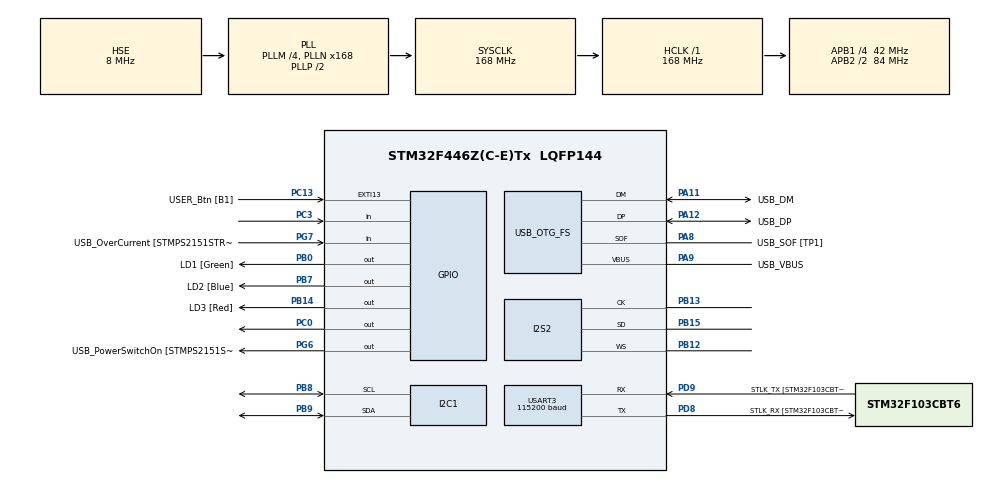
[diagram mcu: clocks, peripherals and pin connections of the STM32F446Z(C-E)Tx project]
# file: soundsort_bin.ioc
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Dma.Request0=SPI2_RX
Dma.SPI2_RX.0.Direction=DMA_PERIPH_TO_MEMORY
Dma.SPI2_RX.0.FIFOMode=DMA_FIFOMODE_DISABLE
Dma.SPI2_RX.0.Instance=DMA1_Stream3
Dma.SPI2_RX.0.MemDataAlignment=DMA_MDATAALIGN_HALFWORD
Dma.SPI2_RX.0.MemInc=DMA_MINC_ENABLE
Dma.SPI2_RX.0.Mode=DMA_CIRCULAR
Dma.SPI2_RX.0.PeriphDataAlignment=DMA_PDATAALIGN_HALFWORD
Dma.SPI2_RX.0.PeriphInc=DMA_PINC_DISABLE
Dma.SPI2_RX.0.Priority=DMA_PRIORITY_VERY_HIGH
I2C1.I2C_Mode=I2C_Fast
I2S2.AudioFreq=I2S_AUDIOFREQ_16K
I2S2.DataFormat=I2S_DATAFORMAT_16B_EXTENDED
I2S2.ErrorAudioFreq=-0.26 %
I2S2.FullDuplexMode=I2S_FULLDUPLEXMODE_DISABLE
I2S2.Instance=SPI$Index
I2S2.Mode=I2S_MODE_MASTER_RX
I2S2.RealAudioFreq=15.957 KHz
I2S2.VirtualMode=I2S_MODE_MASTER
Mcu.Family=STM32F4
Mcu.Name=STM32F446Z(C-E)Tx
Mcu.Package=LQFP144
NVIC.DMA1_Stream3_IRQn=true\:0\:0\:false\:false\:true\:false\:true\:true
NVIC.PriorityGroup=NVIC_PRIORITYGROUP_4
PA10.GPIO_Label=USB_ID
PA10.Signal=USB_OTG_FS_ID
PA11.GPIO_Label=USB_DM
PA11.Mode=Device_Only
PA11.Signal=USB_OTG_FS_DM
PA12.GPIO_Label=USB_DP
PA12.Mode=Device_Only
PA12.Signal=USB_OTG_FS_DP
PA13.GPIO_Label=TMS
PA13.Mode=Serial_Wire
PA13.Signal=SYS_JTMS-SWDIO
PA14.GPIO_Label=TCK
PA14.Mode=Serial_Wire
PA14.Signal=SYS_JTCK-SWCLK
PA8.GPIO_Label=USB_SOF [TP1]
PA8.Mode=Activate_SOF_FS
PA8.Signal=USB_OTG_FS_SOF
PA9.GPIO_Label=USB_VBUS
PA9.Mode=Activate_VBUS
PA9.Signal=USB_OTG_FS_VBUS
PB0.GPIO_Label=LD1 [Green]
PB0.Signal=GPIO_Output
PB12.Mode=Half_Duplex_Master
PB12.Signal=I2S2_WS
PB13.Mode=Half_Duplex_Master
PB13.Signal=I2S2_CK
PB14.GPIO_Label=LD3 [Red]
PB14.Signal=GPIO_Output
PB15.Mode=Half_Duplex_Master
PB15.Signal=I2S2_SD
PB7.GPIO_Label=LD2 [Blue]
PB7.Signal=GPIO_Output
PB8.Mode=I2C
PB8.Signal=I2C1_SCL
PB9.Mode=I2C
PB9.Signal=I2C1_SDA
PC0.Signal=GPIO_Output
PC13.GPIO_Label=USER_Btn [B1]
PC13.Signal=GPXTI13
PC14-OSC32_IN.Mode=LSE-External-Oscillator
PC14-OSC32_IN.Signal=RCC_OSC32_IN
PC15-OSC32_OUT.Mode=LSE-External-Oscillator
PC15-OSC32_OUT.Signal=RCC_OSC32_OUT
PC3.Signal=GPIO_Input
PD8.GPIO_Label=STLK_RX [STM32F103CBT6_PA3]
PD8.Mode=Asynchronous
PD8.Signal=USART3_TX
PD9.GPIO_Label=STLK_TX [STM32F103CBT6_PA2]
PD9.Mode=Asynchronous
PD9.Signal=USART3_RX
PG6.GPIO_Label=USB_PowerSwitchOn [STMPS2151STR_EN]
PG6.Signal=GPIO_Output
PG7.GPIO_Label=USB_OverCurrent [STMPS2151STR_FAULT]
PG7.Signal=GPIO_Input
PH0-OSC_IN.GPIO_Label=MCO [STM32F103CBT6_PA8]
PH0-OSC_IN.Mode=HSE-External-Clock-Source
PH0-OSC_IN.Signal=RCC_OSC_IN
PH1-OSC_OUT.Mode=HSE-External-Clock-Source
PH1-OSC_OUT.Signal=RCC_OSC_OUT
ProjectManager.HeapSize=0x200
ProjectManager.StackSize=0x400
ProjectManager.TargetToolchain=STM32CubeIDE
RCC.48MHZClocksFreq_Value=24000000
RCC.AHBFreq_Value=168000000
RCC.APB1CLKDivider=RCC_HCLK_DIV4
RCC.APB1Freq_Value=42000000
RCC.APB1TimFreq_Value=84000000
RCC.APB2CLKDivider=RCC_HCLK_DIV2
RCC.APB2Freq_Value=84000000
RCC.APB2TimFreq_Value=168000000
RCC.CortexFreq_Value=168000000
RCC.HCLKFreq_Value=168000000
RCC.HSE_VALUE=8000000
RCC.HSI_VALUE=16000000
RCC.PLLI2SM=4
RCC.PLLM=4
RCC.PLLMUL=RCC_PLL_MUL9
RCC.PLLN=168
RCC.PLLQ=7
RCC.PRESCALERUSB=RCC_USBCLKSOURCE_PLL_DIV1_5
RCC.SYSCLKFreq_VALUE=168000000
RCC.SYSCLKSource=RCC_SYSCLKSOURCE_PLLCLK
RCC.SYSCLKSourceVirtual=RCC_SYSCLKSOURCE_PLLCLK
RCC.USBFreq_Value=48000000
RCC.VCOOutputFreq_Value=336000000
USART3.BaudRate=115200
USART3.VirtualMode=VM_ASYNC
USB_OTG_FS.VirtualMode=Device_Only
board=NUCLEO-F446ZE

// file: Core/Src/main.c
/* USER CODE BEGIN Header */
/**
 ******************************************************************************
 * @file           : main.c
 * @brief          : Main program body
 ******************************************************************************
 * @attention
 *
 * Copyright (c) 2026 STMicroelectronics.
 * All rights reserved.
 *
 * This software is licensed under terms that can be found in the LICENSE file
 * in the root directory of this software component.
 * If no LICENSE file comes with this software, it is provided AS-IS.
 *
 ******************************************************************************
 */
/* USER CODE END Header */
#include "main.h"

/* USER CODE BEGIN Includes */
#include "VL53L1X_api.h"
#include <stdio.h>
#include <math.h>
#include <string.h>
/* USER CODE END Includes */

/* USER CODE BEGIN PD */

// Total DMA buffer size for I2S audio
// DMA will fill this buffer continuously in a ping-pong manner:
// first half -> interrupt, second half -> interrupt
#define I2S_DMA_SAMPLES 1024
#define HALF_SAMPLES (I2S_DMA_SAMPLES / 2)

// If the ToF sensor sees an object closer than this, start listening
#define TOF_THRESHOLD_MM 150

// We store 0.5 seconds at 16kHz audio
// 16000 samples/sec * 0.5 sec = 8000 samples
#define AUDIO_LEN 8000

/* USER CODE END PD */

I2C_HandleTypeDef hi2c1;

I2S_HandleTypeDef hi2s2;
DMA_HandleTypeDef hdma_spi2_rx;

UART_HandleTypeDef huart3;

PCD_HandleTypeDef hpcd_USB_OTG_FS;

void SystemClock_Config(void);
static void MX_GPIO_Init(void);
static void MX_DMA_Init(void);
static void MX_I2S2_Init(void);
static void MX_USART3_UART_Init(void);
static void MX_USB_OTG_FS_PCD_Init(void);
static void MX_I2C1_Init(void);

/* USER CODE BEGIN 0 */
const float PI = 3.14159265358979f;

// Raw DMA buffer filled directly by I2S peripheral
static uint16_t i2s_rx_buf[I2S_DMA_SAMPLES];

// Final mono audio clip used for feature extraction
// This holds 8000 float samples = 0.5 seconds
static float audio_buf[AUDIO_LEN]; // Store 0.5s of audio as floats

// Current write index into audio_buf[]
static uint32_t audio_idx = 0;

// Set to 1 once we detect the actual impact sound
// Before that, we keep waiting even though recording has started
static uint8_t is_impact_detected = 0;

// Flags set by the DMA hardware interrupts
volatile uint8_t half_ready = 0;
volatile uint8_t full_ready = 0;

// Running DC estimate for a simple DC blocker
// Helps remove microphone bias / offset
static int32_t dc_offset = 0;

// FSM States
typedef enum
{
	STATE_IDLE,		// Waiting for an object to fall
	STATE_RECORDING // Object detected, currently filling audio_buf
} SystemState;

SystemState current_state = STATE_IDLE;
uint32_t chunk_count = 0;
uint16_t dev = 0x52; // ToF I2C Address

// Parses the raw hardware I2S buffer and converts it to a standard float array
static void fill_audio_buffer(uint16_t *src)
{
	for (uint32_t i = 0; i < HALF_SAMPLES; i += 4)
	{
		int16_t raw_sample = (int16_t)src[i];
		dc_offset = dc_offset + ((raw_sample - dc_offset) >> 6);

		// RAW, clean conversion. No 8x multiplier, no clipping.
		float sample_float = (float)(raw_sample - dc_offset) / 32768.0f;

		if (chunk_count < 5)
			continue; // Skip the startup pop

		float abs_val = fabsf(sample_float);

		// Wait for impact
		if (!is_impact_detected)
		{
			if (abs_val > 0.015f)
			{ // Standard trigger threshold
				is_impact_detected = 1;
			}
		}

		// Record exactly 0.5 seconds
		if (is_impact_detected && audio_idx < AUDIO_LEN)
		{
			audio_buf[audio_idx++] = sample_float;
		}
	}
}

// DMA Call Backs
// Ping-Pong buffering: while the CPU processes the first half, the DMA fills the second half
void HAL_I2S_RxHalfCpltCallback(I2S_HandleTypeDef *hi2s)
{
	if (hi2s->Instance == SPI2)
	{
		half_ready = 1;
	}
}
void HAL_I2S_RxCpltCallback(I2S_HandleTypeDef *hi2s)
{
	if (hi2s->Instance == SPI2)
	{
		full_ready = 1;
	}
}
/* USER CODE END 0 */

int main(void)
{

	/* MCU Configuration--------------------------------------------------------*/

	/* Reset of all peripherals, Initializes the Flash interface and the Systick. */
	HAL_Init();

	/* Configure the system clock */
	SystemClock_Config();

	/* Initialize all configured peripherals */
	MX_GPIO_Init();
	MX_DMA_Init();
	MX_I2S2_Init();
	MX_USART3_UART_Init();
	MX_USB_OTG_FS_PCD_Init();
	MX_I2C1_Init();
	/* USER CODE BEGIN 2 */
	// 1. Turn on RED LED to indicate boot is starting
	HAL_GPIO_WritePin(GPIOB, LD3_Pin, GPIO_PIN_SET);

	// 2. Force the ToF Sensor OFF (Pull XSHUT Low)
	HAL_GPIO_WritePin(GPIOC, GPIO_PIN_0, GPIO_PIN_RESET);
	HAL_Delay(10); // Hold it in reset

	// 3. Wake the ToF Sensor UP (Pull XSHUT High)
	HAL_GPIO_WritePin(GPIOC, GPIO_PIN_0, GPIO_PIN_SET);
	HAL_Delay(50); // Give it time to boot internally

	uint8_t sensorState = 0;
	while (sensorState == 0)
	{
		VL53L1X_BootState(dev, &sensorState);
		HAL_Delay(2);
	}

	// 4. Initialize ToF Sensor for fast, short-range detection
	VL53L1X_SensorInit(dev);
	VL53L1X_SetDistanceMode(dev, 1);
	VL53L1X_SetTimingBudgetInMs(dev, 33);
	VL53L1X_SetInterMeasurementInMs(dev, 33);
	VL53L1X_StartRanging(dev);

	// 5. Success! Turn OFF Red LED, Turn ON Green LED
	HAL_GPIO_WritePin(GPIOB, LD3_Pin, GPIO_PIN_RESET);
	HAL_GPIO_WritePin(GPIOB, LD1_Pin, GPIO_PIN_SET);

	/* USER CODE END 2 */

	/* Infinite loop */
	/* USER CODE BEGIN WHILE */
	while (1)
	{
		if (current_state == STATE_IDLE)
		{
			// Poll the Time-of-Flight sensor to see if it finished a measurement
			uint8_t dataReady = 0;
			VL53L1X_CheckForDataReady(dev, &dataReady);

			if (dataReady)
			{
				uint16_t distance = 0;
				VL53L1X_GetDistance(dev, &distance);
				VL53L1X_ClearInterrupt(dev);

				// TRIGGER DETECTED!
				if (distance < TOF_THRESHOLD_MM && distance > 0)
				{
					current_state = STATE_RECORDING;
					chunk_count = 0;
					audio_idx = 0; // Reset our main float buffer index
					half_ready = 0;
					full_ready = 0;

					// Stop ToF Ranging so the I2C bus doesn't interrupt the audio processing
					VL53L1X_StopRanging(dev);

					// Tell the hardware DMA to start dumping microphone data into our array
					HAL_I2S_Receive_DMA(&hi2s2, i2s_rx_buf, I2S_DMA_SAMPLES);

					char msg[64];
					sprintf(msg, "--- ITEM DETECTED (%d mm) ---\n", distance);
					HAL_UART_Transmit(&huart3, (uint8_t *)msg, strlen(msg),
									  HAL_MAX_DELAY);
				}
			}
		}
		else if (current_state == STATE_RECORDING)
		{
			// The DMA finished filling the first half of the array
			if (half_ready)
			{
				half_ready = 0;
				fill_audio_buffer(&i2s_rx_buf[0]);
				chunk_count++;
			}

			// The DMA finished filling the second half of the array
			if (full_ready)
			{
				full_ready = 0;
				fill_audio_buffer(&i2s_rx_buf[HALF_SAMPLES]);
				chunk_count++;
			}

			// ---------------------------------------------------------
			// 1. SUCCESS: Did we finish collecting exactly 0.5s of audio?
			// ---------------------------------------------------------
			if (audio_idx >= AUDIO_LEN)
			{
				HAL_I2S_DMAStop(&hi2s2);

				// 1. Send Start Marker
				char start_msg[] = "START_AUDIO\n";
				HAL_UART_Transmit(&huart3, (uint8_t *)start_msg,
								  strlen(start_msg), HAL_MAX_DELAY);

				// 2. Transmit each sample as a human-readable text string!
				// This completely immunizes the data from binary alignment corruption.
				for (int i = 0; i < AUDIO_LEN; i++)
				{
					int16_t pcm_val = (int16_t)(audio_buf[i] * 32767.0f);
					char val_str[16];

					// Convert the integer to text with a newline
					sprintf(val_str, "%d\n", pcm_val);
					HAL_UART_Transmit(&huart3, (uint8_t *)val_str,
									  strlen(val_str), HAL_MAX_DELAY);
				}

				// 3. Send End Marker
				char end_msg[] = "END_AUDIO\n";
				HAL_UART_Transmit(&huart3, (uint8_t *)end_msg, strlen(end_msg),
								  HAL_MAX_DELAY);

				// Wait 1 second before allowing the next drop
				HAL_Delay(1000);

				VL53L1X_StartRanging(dev);
				is_impact_detected = 0;
				current_state = STATE_IDLE;
			}
			// ---------------------------------------------------------
			// 2. TIMEOUT: Did we wait 2 seconds and NEVER hear an impact?
			// ---------------------------------------------------------
			else if (chunk_count >= 250 && !is_impact_detected)
			{
				// Stop the microphone!
				HAL_I2S_DMAStop(&hi2s2);

				char msg[] = "TIMEOUT: Object detected, but no sound heard.\n\n";
				HAL_UART_Transmit(&huart3, (uint8_t *)msg, strlen(msg),
								  HAL_MAX_DELAY);

				// Only wait half a second on a timeout before scanning again
				HAL_Delay(500);
				VL53L1X_StartRanging(dev);
				is_impact_detected = 0;
				current_state = STATE_IDLE;
			}
		}
	}
	/* USER CODE END WHILE */

}

void SystemClock_Config(void)
{
	RCC_OscInitTypeDef RCC_OscInitStruct = {0};
	RCC_ClkInitTypeDef RCC_ClkInitStruct = {0};

	/** Configure the main internal regulator output voltage
	 */
	__HAL_RCC_PWR_CLK_ENABLE();
	__HAL_PWR_VOLTAGESCALING_CONFIG(PWR_REGULATOR_VOLTAGE_SCALE1);

	/** Initializes the RCC Oscillators according to the specified parameters
	 * in the RCC_OscInitTypeDef structure.
	 */
	RCC_OscInitStruct.OscillatorType = RCC_OSCILLATORTYPE_HSE;
	RCC_OscInitStruct.HSEState = RCC_HSE_BYPASS;
	RCC_OscInitStruct.PLL.PLLState = RCC_PLL_ON;
	RCC_OscInitStruct.PLL.PLLSource = RCC_PLLSOURCE_HSE;
	RCC_OscInitStruct.PLL.PLLM = 4;
	RCC_OscInitStruct.PLL.PLLN = 168;
	RCC_OscInitStruct.PLL.PLLP = RCC_PLLP_DIV2;
	RCC_OscInitStruct.PLL.PLLQ = 7;
	RCC_OscInitStruct.PLL.PLLR = 2;
	if (HAL_RCC_OscConfig(&RCC_OscInitStruct) != HAL_OK)
	{
		Error_Handler();
	}

	/** Initializes the CPU, AHB and APB buses clocks
	 */
	RCC_ClkInitStruct.ClockType = RCC_CLOCKTYPE_HCLK | RCC_CLOCKTYPE_SYSCLK | RCC_CLOCKTYPE_PCLK1 | RCC_CLOCKTYPE_PCLK2;
	RCC_ClkInitStruct.SYSCLKSource = RCC_SYSCLKSOURCE_PLLCLK;
	RCC_ClkInitStruct.AHBCLKDivider = RCC_SYSCLK_DIV1;
	RCC_ClkInitStruct.APB1CLKDivider = RCC_HCLK_DIV4;
	RCC_ClkInitStruct.APB2CLKDivider = RCC_HCLK_DIV2;

	if (HAL_RCC_ClockConfig(&RCC_ClkInitStruct, FLASH_LATENCY_5) != HAL_OK)
	{
		Error_Handler();
	}
}

static void MX_I2C1_Init(void)
{

	hi2c1.Instance = I2C1;
	hi2c1.Init.ClockSpeed = 400000;
	hi2c1.Init.DutyCycle = I2C_DUTYCYCLE_2;
	hi2c1.Init.OwnAddress1 = 0;
	hi2c1.Init.AddressingMode = I2C_ADDRESSINGMODE_7BIT;
	hi2c1.Init.DualAddressMode = I2C_DUALADDRESS_DISABLE;
	hi2c1.Init.OwnAddress2 = 0;
	hi2c1.Init.GeneralCallMode = I2C_GENERALCALL_DISABLE;
	hi2c1.Init.NoStretchMode = I2C_NOSTRETCH_DISABLE;
	if (HAL_I2C_Init(&hi2c1) != HAL_OK)
	{
		Error_Handler();
	}
}

static void MX_I2S2_Init(void)
{

	hi2s2.Instance = SPI2;
	hi2s2.Init.Mode = I2S_MODE_MASTER_RX;
	hi2s2.Init.Standard = I2S_STANDARD_PHILIPS;
	hi2s2.Init.DataFormat = I2S_DATAFORMAT_16B_EXTENDED;
	hi2s2.Init.MCLKOutput = I2S_MCLKOUTPUT_DISABLE;
	hi2s2.Init.AudioFreq = I2S_AUDIOFREQ_16K;
	hi2s2.Init.CPOL = I2S_CPOL_LOW;
	hi2s2.Init.ClockSource = I2S_CLOCK_PLL;
	hi2s2.Init.FullDuplexMode = I2S_FULLDUPLEXMODE_DISABLE;
	if (HAL_I2S_Init(&hi2s2) != HAL_OK)
	{
		Error_Handler();
	}
}

static void MX_USART3_UART_Init(void)
{

	huart3.Instance = USART3;
	huart3.Init.BaudRate = 115200;
	huart3.Init.WordLength = UART_WORDLENGTH_8B;
	huart3.Init.StopBits = UART_STOPBITS_1;
	huart3.Init.Parity = UART_PARITY_NONE;
	huart3.Init.Mode = UART_MODE_TX_RX;
	huart3.Init.HwFlowCtl = UART_HWCONTROL_NONE;
	huart3.Init.OverSampling = UART_OVERSAMPLING_16;
	if (HAL_UART_Init(&huart3) != HAL_OK)
	{
		Error_Handler();
	}
}

static void MX_USB_OTG_FS_PCD_Init(void)
{

	hpcd_USB_OTG_FS.Instance = USB_OTG_FS;
	hpcd_USB_OTG_FS.Init.dev_endpoints = 6;
	hpcd_USB_OTG_FS.Init.speed = PCD_SPEED_FULL;
	hpcd_USB_OTG_FS.Init.dma_enable = DISABLE;
	hpcd_USB_OTG_FS.Init.phy_itface = PCD_PHY_EMBEDDED;
	hpcd_USB_OTG_FS.Init.Sof_enable = ENABLE;
	hpcd_USB_OTG_FS.Init.low_power_enable = DISABLE;
	hpcd_USB_OTG_FS.Init.lpm_enable = DISABLE;
	hpcd_USB_OTG_FS.Init.vbus_sensing_enable = ENABLE;
	hpcd_USB_OTG_FS.Init.use_dedicated_ep1 = DISABLE;
	if (HAL_PCD_Init(&hpcd_USB_OTG_FS) != HAL_OK)
	{
		Error_Handler();
	}
}

static void MX_DMA_Init(void)
{

	/* DMA controller clock enable */
	__HAL_RCC_DMA1_CLK_ENABLE();

	/* DMA interrupt init */
	/* DMA1_Stream3_IRQn interrupt configuration */
	HAL_NVIC_SetPriority(DMA1_Stream3_IRQn, 0, 0);
	HAL_NVIC_EnableIRQ(DMA1_Stream3_IRQn);
}

static void MX_GPIO_Init(void)
{
	GPIO_InitTypeDef GPIO_InitStruct = {0};

	/* GPIO Ports Clock Enable */
	__HAL_RCC_GPIOC_CLK_ENABLE();
	__HAL_RCC_GPIOH_CLK_ENABLE();
	__HAL_RCC_GPIOB_CLK_ENABLE();
	__HAL_RCC_GPIOD_CLK_ENABLE();
	__HAL_RCC_GPIOG_CLK_ENABLE();
	__HAL_RCC_GPIOA_CLK_ENABLE();

	/*Configure GPIO pin Output Level */
	HAL_GPIO_WritePin(GPIOC, GPIO_PIN_0, GPIO_PIN_RESET);

	/*Configure GPIO pin Output Level */
	HAL_GPIO_WritePin(GPIOB, LD1_Pin | LD3_Pin | LD2_Pin, GPIO_PIN_RESET);

	/*Configure GPIO pin Output Level */
	HAL_GPIO_WritePin(USB_PowerSwitchOn_GPIO_Port, USB_PowerSwitchOn_Pin,
					  GPIO_PIN_RESET);

	/*Configure GPIO pin : USER_Btn_Pin */
	GPIO_InitStruct.Pin = USER_Btn_Pin;
	GPIO_InitStruct.Mode = GPIO_MODE_IT_RISING;
	GPIO_InitStruct.Pull = GPIO_NOPULL;
	HAL_GPIO_Init(USER_Btn_GPIO_Port, &GPIO_InitStruct);

	/*Configure GPIO pin : PC0 */
	GPIO_InitStruct.Pin = GPIO_PIN_0;
	GPIO_InitStruct.Mode = GPIO_MODE_OUTPUT_PP;
	GPIO_InitStruct.Pull = GPIO_NOPULL;
	GPIO_InitStruct.Speed = GPIO_SPEED_FREQ_LOW;
	HAL_GPIO_Init(GPIOC, &GPIO_InitStruct);

	/*Configure GPIO pin : PC3 */
	GPIO_InitStruct.Pin = GPIO_PIN_3;
	GPIO_InitStruct.Mode = GPIO_MODE_INPUT;
	GPIO_InitStruct.Pull = GPIO_NOPULL;
	HAL_GPIO_Init(GPIOC, &GPIO_InitStruct);

	/*Configure GPIO pins : LD1_Pin LD3_Pin LD2_Pin */
	GPIO_InitStruct.Pin = LD1_Pin | LD3_Pin | LD2_Pin;
	GPIO_InitStruct.Mode = GPIO_MODE_OUTPUT_PP;
	GPIO_InitStruct.Pull = GPIO_NOPULL;
	GPIO_InitStruct.Speed = GPIO_SPEED_FREQ_LOW;
	HAL_GPIO_Init(GPIOB, &GPIO_InitStruct);

	/*Configure GPIO pin : USB_PowerSwitchOn_Pin */
	GPIO_InitStruct.Pin = USB_PowerSwitchOn_Pin;
	GPIO_InitStruct.Mode = GPIO_MODE_OUTPUT_PP;
	GPIO_InitStruct.Pull = GPIO_NOPULL;
	GPIO_InitStruct.Speed = GPIO_SPEED_FREQ_LOW;
	HAL_GPIO_Init(USB_PowerSwitchOn_GPIO_Port, &GPIO_InitStruct);

	/*Configure GPIO pin : USB_OverCurrent_Pin */
	GPIO_InitStruct.Pin = USB_OverCurrent_Pin;
	GPIO_InitStruct.Mode = GPIO_MODE_INPUT;
	GPIO_InitStruct.Pull = GPIO_NOPULL;
	HAL_GPIO_Init(USB_OverCurrent_GPIO_Port, &GPIO_InitStruct);

}

void Error_Handler(void)
{
	/* USER CODE BEGIN Error_Handler_Debug */
	/* User can add his own implementation to report the HAL error return state */
	__disable_irq();
	HAL_GPIO_WritePin(GPIOB, LD3_Pin, GPIO_PIN_SET);
	while (1)
	{
	}
	/* USER CODE END Error_Handler_Debug */
}
